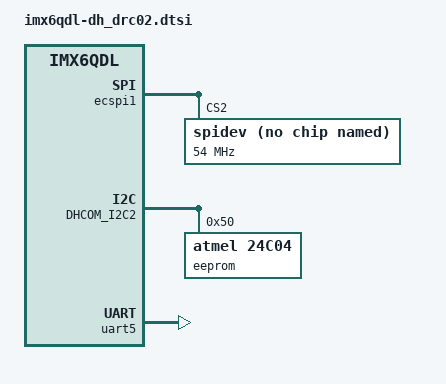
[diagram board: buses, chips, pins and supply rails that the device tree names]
/*
 * Copyright 2015 DH electronics GmbH
 *
 * The code contained herein is licensed under the GNU General Public
 * License. You may obtain a copy of the GNU General Public License
 * Version 2 or later at the following locations:
 *
 * http://www.opensource.org/licenses/gpl-license.html
 * http://www.gnu.org/copyleft/gpl.html
 */

#include <dt-bindings/pwm/pwm.h>
#include <dt-bindings/gpio/gpio.h>
#include <dt-bindings/clock/imx6qdl-clock.h>

/ {
};

&ecspi1 {									// ********** SPI 1 **********
	spidev@2 {								// ==> /dev/spidev0.2 (Display connector)
		compatible =  "spidev", "fsl,ecspi";
		reg = <2>;							// SS2
		spi-max-frequency = <54000000>;
		spi-cpha;							// Shifted clock phase (CPHA) mode
		spi-cpol;							// Inverse clock polarity (CPOL) mode
	};
};

&ecspi2 {									// ********** SPI 2 **********
	status = "disabled";							// Not connected
};

&DHCOM_I2C1 {									// ********** I2C 1 **********
};

&DHCOM_I2C2 {									// ********** I2C 2 **********
	eeprom@50 {
		compatible = "atmel,24c04";					// Atmel AT24HC04B
		reg = <0x50>;
		pagesize = <16>;
	};
};

&DHCOM_I2C_ONMODULE {								// ****** I2C onModule *******
};

&uart5 { 									// UART 2 (BT) ==> /dev/ttymxc4
	fsl,rs485-mode;								// Enable rs485 mode
	rts_gpio = <&gpio7 13 0>;						// GPIO P: rs485 rts = Receive Transmit Switch GPIO
	rxen_gpio = <&gpio1 18 0>;						// GPIO Q: rs485 rxen = RX Enable GPIO
	//rs485-rx-during-tx;							// Receive data during transfer
	status = "okay";
};

&usbotg {									// USB OTG
	status = "disabled";							// Not connected
};

&iomuxc {
	pinctrl-names = "default";
	pinctrl-0 = <&pinctrl_dhcom_hog_base &pinctrl_dhcom_hog>;

	imx6qdl-drc02_base {
		pinctrl_dhcom_hog: hog_grp {
			fsl,pins = <
				MX6QDL_PAD_GPIO_2__GPIO1_IO02       0x400120B0	// GPIO A -> Display connector
				MX6QDL_PAD_GPIO_4__GPIO1_IO04       0x400120B0	// GPIO B -> Display connector
				MX6QDL_PAD_GPIO_5__GPIO1_IO05       0x400120B0	// GPIO C -> Display connector
				MX6QDL_PAD_CSI0_DAT17__GPIO6_IO03   0x400120B0	// GPIO D -> OUT 2
				MX6QDL_PAD_GPIO_19__GPIO4_IO05      0x400120B0	// GPIO E -> Display connector
				MX6QDL_PAD_DI0_PIN4__GPIO4_IO20     0x400120B0	// GPIO F -> OUT 1
				MX6QDL_PAD_EIM_D27__GPIO3_IO27      0x400120B0	// GPIO G -> IN 1
				MX6QDL_PAD_KEY_ROW0__GPIO4_IO07     0x400120B0	// GPIO H -> Reset USB hub
				MX6QDL_PAD_KEY_COL1__GPIO4_IO08     0x400120B0	// GPIO I -> UART1 RTS
				MX6QDL_PAD_NANDF_CS1__GPIO6_IO14    0x400120B0	// GPIO J -> Code_HW_2
				MX6QDL_PAD_NANDF_CS2__GPIO6_IO15    0x400120B0	// GPIO K -> Code_HW_1
				MX6QDL_PAD_KEY_ROW1__GPIO4_IO09     0x400120B0	// GPIO L -> Code_HW_0
				MX6QDL_PAD_SD3_DAT5__GPIO7_IO00     0x400120B0	// GPIO M -> UART1 CTS
				MX6QDL_PAD_SD3_DAT4__GPIO7_IO01     0x400120B0	// GPIO N -> Extension connector (XLON U10R2, MBUS, ...)
				MX6QDL_PAD_CSI0_VSYNC__GPIO5_IO21   0x400120B0	// GPIO O -> Extension connector (XLON U10R2, MBUS, ...)
				MX6QDL_PAD_GPIO_18__GPIO7_IO13      0x400120B0	// GPIO P -> rs485 rts
				MX6QDL_PAD_SD1_CMD__GPIO1_IO18      0x400120B0	// GPIO Q -> rs485 rxen
				MX6QDL_PAD_SD1_DAT0__GPIO1_IO16     0x400120B0	// GPIO R -> Not connected
				MX6QDL_PAD_SD1_DAT1__GPIO1_IO17     0x400120B0	// GPIO S -> Not connected
				MX6QDL_PAD_SD1_DAT2__GPIO1_IO19     0x400120B0	// GPIO T -> Not connected
				MX6QDL_PAD_SD1_CLK__GPIO1_IO20      0x400120B0	// GPIO U -> Not connected
				MX6QDL_PAD_CSI0_PIXCLK__GPIO5_IO18  0x400120B0	// GPIO V -> Not connected
				MX6QDL_PAD_CSI0_MCLK__GPIO5_IO19    0x400120B0	// GPIO W -> Not connected
				MX6QDL_PAD_KEY_COL0__GPIO4_IO06     0x400120B0	// INT_HIGHEST_PRIORITY -> IN 2
			>;
		};
	};
};
